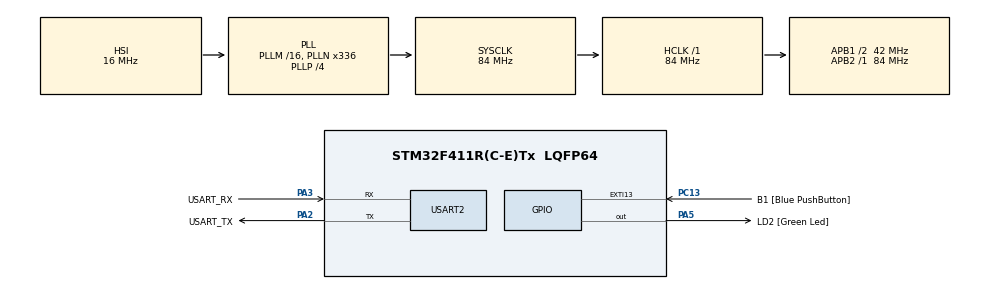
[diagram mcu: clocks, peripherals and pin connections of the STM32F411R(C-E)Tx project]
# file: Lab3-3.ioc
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FREERTOS.Tasks01=defaultTask,0,128,StartDefaultTask,Default,NULL,Dynamic,NULL,NULL
Mcu.Family=STM32F4
Mcu.Name=STM32F411R(C-E)Tx
Mcu.Package=LQFP64
NVIC.PriorityGroup=NVIC_PRIORITYGROUP_4
PA13.GPIO_Label=TMS
PA13.Mode=Serial_Wire
PA13.Signal=SYS_JTMS-SWDIO
PA14.GPIO_Label=TCK
PA14.Mode=Serial_Wire
PA14.Signal=SYS_JTCK-SWCLK
PA2.GPIO_Label=USART_TX
PA2.Mode=Asynchronous
PA2.Signal=USART2_TX
PA3.GPIO_Label=USART_RX
PA3.Mode=Asynchronous
PA3.Signal=USART2_RX
PA5.GPIO_Label=LD2 [Green Led]
PA5.Signal=GPIO_Output
PB3.GPIO_Label=SWO
PB3.Signal=SYS_JTDO-SWO
PC13-ANTI_TAMP.GPIO_Label=B1 [Blue PushButton]
PC13-ANTI_TAMP.GPIO_ModeDefaultEXTI=GPIO_MODE_IT_FALLING
PC13-ANTI_TAMP.Signal=GPXTI13
PC14-OSC32_IN.Mode=LSE-External-Oscillator
PC14-OSC32_IN.Signal=RCC_OSC32_IN
PC15-OSC32_OUT.Mode=LSE-External-Oscillator
PC15-OSC32_OUT.Signal=RCC_OSC32_OUT
PH0\ -\ OSC_IN.Mode=HSE-External-Clock-Source
PH0\ -\ OSC_IN.Signal=RCC_OSC_IN
PH1\ -\ OSC_OUT.Mode=HSE-External-Clock-Source
PH1\ -\ OSC_OUT.Signal=RCC_OSC_OUT
ProjectManager.HeapSize=0x200
ProjectManager.StackSize=0x400
ProjectManager.TargetToolchain=STM32CubeIDE
RCC.48MHZClocksFreq_Value=84000000
RCC.AHBFreq_Value=84000000
RCC.APB1CLKDivider=RCC_HCLK_DIV2
RCC.APB1Freq_Value=42000000
RCC.APB1TimFreq_Value=84000000
RCC.APB2Freq_Value=84000000
RCC.APB2TimFreq_Value=84000000
RCC.CortexFreq_Value=84000000
RCC.FLatency-AdvancedSettings=FLASH_LATENCY_2
RCC.HCLKFreq_Value=84000000
RCC.HSE_VALUE=8000000
RCC.HSI_VALUE=16000000
RCC.PLLN=336
RCC.PLLP=RCC_PLLP_DIV4
RCC.SYSCLKFreq_VALUE=84000000
RCC.SYSCLKSource=RCC_SYSCLKSOURCE_PLLCLK
RCC.VCOOutputFreq_Value=336000000
USART2.VirtualMode=VM_ASYNC
VP_FREERTOS_VS_CMSIS_V1.Mode=CMSIS_V1
board=NUCLEO-F411RE

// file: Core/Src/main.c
/* USER CODE BEGIN Header */
/**
 ******************************************************************************
 * @file           : main.c
 * @brief          : Main program body
 ******************************************************************************
 * @attention
 *
 * <h2><center>&copy; Copyright (c) 2021 STMicroelectronics.
 * All rights reserved.</center></h2>
 *
 * This software component is licensed by ST under BSD 3-Clause license,
 * the "License"; You may not use this file except in compliance with the
 * License. You may obtain a copy of the License at:
 *                        opensource.org/licenses/BSD-3-Clause
 *
 ******************************************************************************
 */
/* USER CODE END Header */
#include "main.h"
#include "cmsis_os.h"

UART_HandleTypeDef huart2;

osThreadId defaultTaskHandle;

void SystemClock_Config(void);
static void MX_GPIO_Init(void);
static void MX_USART2_UART_Init(void);
void StartDefaultTask(void const *argument);

int main(void) {

	/* MCU Configuration--------------------------------------------------------*/

	/* Reset of all peripherals, Initializes the Flash interface and the Systick. */
	HAL_Init();

	/* Configure the system clock */
	SystemClock_Config();

	/* Initialize all configured peripherals */
	MX_GPIO_Init();
	MX_USART2_UART_Init();

	/* Create the thread(s) */
	/* definition and creation of defaultTask */
	osThreadDef(defaultTask, StartDefaultTask, osPriorityNormal, 0, 128);
	defaultTaskHandle = osThreadCreate(osThread(defaultTask), NULL);

	/* Start scheduler */
	osKernelStart();

	/* We should never get here as control is now taken by the scheduler */
	/* Infinite loop */
	while (1) {

	}
}

void SystemClock_Config(void) {
	RCC_OscInitTypeDef RCC_OscInitStruct = { 0 };
	RCC_ClkInitTypeDef RCC_ClkInitStruct = { 0 };

	/** Configure the main internal regulator output voltage
	 */
	__HAL_RCC_PWR_CLK_ENABLE();
	__HAL_PWR_VOLTAGESCALING_CONFIG(PWR_REGULATOR_VOLTAGE_SCALE1);
	/** Initializes the RCC Oscillators according to the specified parameters
	 * in the RCC_OscInitTypeDef structure.
	 */
	RCC_OscInitStruct.OscillatorType = RCC_OSCILLATORTYPE_HSI;
	RCC_OscInitStruct.HSIState = RCC_HSI_ON;
	RCC_OscInitStruct.HSICalibrationValue = RCC_HSICALIBRATION_DEFAULT;
	RCC_OscInitStruct.PLL.PLLState = RCC_PLL_ON;
	RCC_OscInitStruct.PLL.PLLSource = RCC_PLLSOURCE_HSI;
	RCC_OscInitStruct.PLL.PLLM = 16;
	RCC_OscInitStruct.PLL.PLLN = 336;
	RCC_OscInitStruct.PLL.PLLP = RCC_PLLP_DIV4;
	RCC_OscInitStruct.PLL.PLLQ = 4;
	if (HAL_RCC_OscConfig(&RCC_OscInitStruct) != HAL_OK) {
		Error_Handler();
	}
	/** Initializes the CPU, AHB and APB buses clocks
	 */
	RCC_ClkInitStruct.ClockType = RCC_CLOCKTYPE_HCLK | RCC_CLOCKTYPE_SYSCLK
			| RCC_CLOCKTYPE_PCLK1 | RCC_CLOCKTYPE_PCLK2;
	RCC_ClkInitStruct.SYSCLKSource = RCC_SYSCLKSOURCE_PLLCLK;
	RCC_ClkInitStruct.AHBCLKDivider = RCC_SYSCLK_DIV1;
	RCC_ClkInitStruct.APB1CLKDivider = RCC_HCLK_DIV2;
	RCC_ClkInitStruct.APB2CLKDivider = RCC_HCLK_DIV1;

	if (HAL_RCC_ClockConfig(&RCC_ClkInitStruct, FLASH_LATENCY_2) != HAL_OK) {
		Error_Handler();
	}
}

static void MX_USART2_UART_Init(void) {

	huart2.Instance = USART2;
	huart2.Init.BaudRate = 115200;
	huart2.Init.WordLength = UART_WORDLENGTH_8B;
	huart2.Init.StopBits = UART_STOPBITS_1;
	huart2.Init.Parity = UART_PARITY_NONE;
	huart2.Init.Mode = UART_MODE_TX_RX;
	huart2.Init.HwFlowCtl = UART_HWCONTROL_NONE;
	huart2.Init.OverSampling = UART_OVERSAMPLING_16;
	if (HAL_UART_Init(&huart2) != HAL_OK) {
		Error_Handler();
	}

}

static void MX_GPIO_Init(void) {
	GPIO_InitTypeDef GPIO_InitStruct = { 0 };

	/* GPIO Ports Clock Enable */
	__HAL_RCC_GPIOC_CLK_ENABLE();
	__HAL_RCC_GPIOH_CLK_ENABLE();
	__HAL_RCC_GPIOA_CLK_ENABLE();
	__HAL_RCC_GPIOB_CLK_ENABLE();

	/*Configure GPIO pin Output Level */
	HAL_GPIO_WritePin(LD2_GPIO_Port, LD2_Pin, GPIO_PIN_RESET);

	/*Configure GPIO pin : B1_Pin */
	GPIO_InitStruct.Pin = B1_Pin;
	GPIO_InitStruct.Mode = GPIO_MODE_IT_FALLING;
	GPIO_InitStruct.Pull = GPIO_NOPULL;
	HAL_GPIO_Init(B1_GPIO_Port, &GPIO_InitStruct);

	/*Configure GPIO pin : LD2_Pin */
	GPIO_InitStruct.Pin = LD2_Pin;
	GPIO_InitStruct.Mode = GPIO_MODE_OUTPUT_PP;
	GPIO_InitStruct.Pull = GPIO_NOPULL;
	GPIO_InitStruct.Speed = GPIO_SPEED_FREQ_LOW;
	HAL_GPIO_Init(LD2_GPIO_Port, &GPIO_InitStruct);

}

/* USER CODE BEGIN 4 */

osMutexDef(stdio_mutex);
osMutexId stdio_mutex;

void t1_thread(void const *args) {
	while (1) {
		HAL_GPIO_TogglePin(GPIOA, GPIO_PIN_5);
		osDelay(18);
	}
}

void t2_thread(void const *argument) {
	int threadID = 0; // threadID is 0 for one thread and 1 for another
	int idx = 0;
	char buffer[32];
	while (1) {
		osMutexWait(stdio_mutex, osWaitForever);
		sprintf(buffer, "TID: %d %d\r\n", threadID, idx);
		idx++;
		HAL_UART_Transmit(&huart2, buffer, strlen(buffer), 1000);
		osMutexRelease(stdio_mutex);
		osThreadYield();
	}
}

void t3_thread(void const *argument) {
	int threadID = 1; // threadID is 0 for one thread and 1 for another
	int idx = 0;
	char buffer[32];
	while (1) {
		osMutexWait(stdio_mutex, osWaitForever);
		sprintf(buffer, "TID: %d %d\r\n", threadID, idx);
		idx++;
		HAL_UART_Transmit(&huart2, buffer, strlen(buffer), 1000);
		osMutexRelease(stdio_mutex);
		osThreadYield();
	}
}

/* USER CODE END 4 */

void StartDefaultTask(void const *argument) {
	/* USER CODE BEGIN 5 */
	stdio_mutex = osMutexCreate  (osMutex (stdio_mutex));
	osThreadDef(t1, t1_thread, osPriorityNormal, 0, 128);
	osThreadId t1TaskHandle = osThreadCreate(osThread(t1), NULL);
	osThreadDef(t2, t2_thread, osPriorityNormal, 0, 128);
	osThreadId t2TaskHandle = osThreadCreate(osThread(t2), NULL);
	osThreadDef(t3, t3_thread, osPriorityNormal, 0, 128);
	osThreadId t3TaskHandle = osThreadCreate(osThread(t3), NULL);
	/* Infinite loop */
	for (;;) {
		osDelay(1);
	}
	/* USER CODE END 5 */
}

void Error_Handler(void) {
	__disable_irq();
	while (1) {
	}
}

/************************ (C) COPYRIGHT STMicroelectronics *****END OF FILE****/
